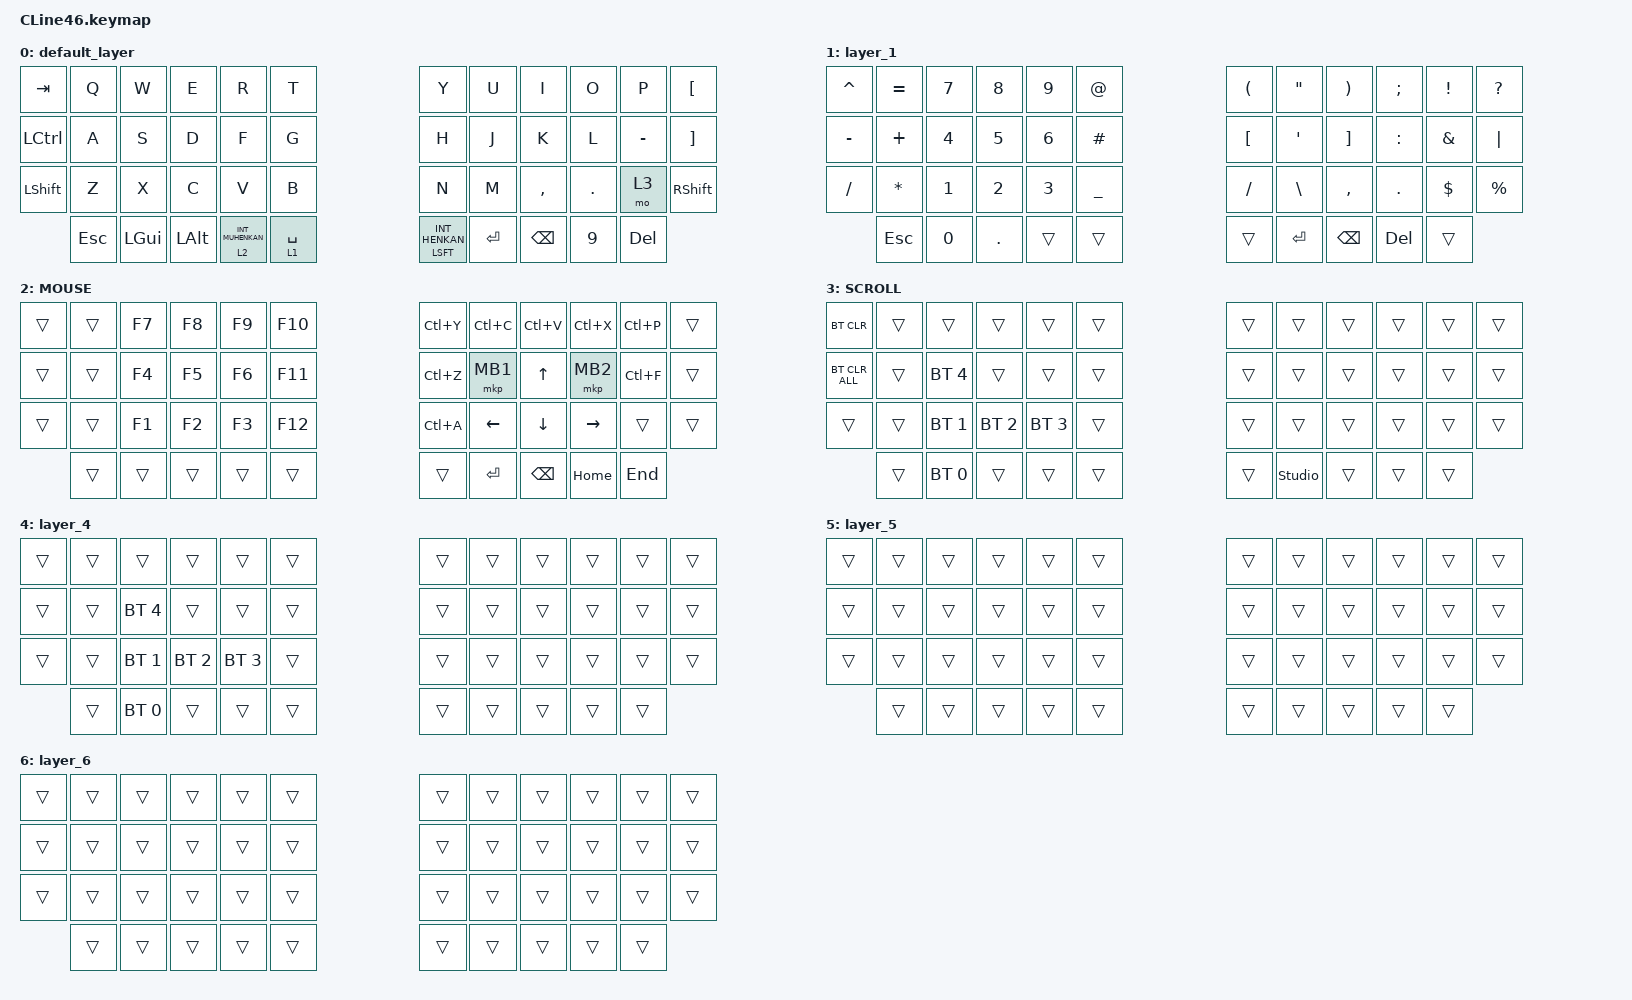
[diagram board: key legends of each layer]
#include <input/processors.dtsi>
#include <dt-bindings/zmk/input_transform.h>
#include <zephyr/dt-bindings/input/input-event-codes.h>
#include <behaviors.dtsi>
#include <dt-bindings/zmk/bt.h>
#include <dt-bindings/zmk/keys.h>
#include <dt-bindings/zmk/pointing.h>

&mt {
    flavor = "balanced";
    quick-tap-ms = <0>;
};

/ {
    combos {
        compatible = "zmk,combos";

        tab {
            bindings = <&kp TAB>;
            key-positions = <11 12>;
        };

        shift_tab {
            bindings = <&kp LS(TAB)>;
            key-positions = <12 13>;
        };
    };

    macros {
        to_layer_0: to_layer_0 {
            compatible = "zmk,behavior-macro-one-param";
            #binding-cells = <1>;
            bindings = <&to 0 &macro_param_1to1 &kp MACRO_PLACEHOLDER>;
            label = "TO_LAYER_0";
        };

        // ()を入力してカーソルを内側に移動
        macro_parentheses: macro_parentheses {
            compatible = "zmk,behavior-macro";
            #binding-cells = <0>;
            wait-ms = <40>;
            tap-ms = <40>;
            bindings = <&kp LPAR &kp RPAR &kp LEFT>;
        };

        // []を入力してカーソルを内側に移動
        macro_brackets: macro_brackets {
            compatible = "zmk,behavior-macro";
            #binding-cells = <0>;
            wait-ms = <40>;
            tap-ms = <40>;
            bindings = <&kp LBKT &kp RBKT &kp LEFT>;
        };

		// 拡大：Ctrl + ホイール上
		zoom_in: zoom_in {
		    compatible = "zmk,behavior-macro";
		    #binding-cells = <0>;
		    display-name = "Zoom In";

		    wait-ms = <150>;

		    bindings =
		        <&macro_press &kp LCTRL>,
		        <&macro_press &msc SCRL_UP>,
		        <&macro_release &msc SCRL_UP>,
		        <&macro_release &kp LCTRL>;
		};

		// 縮小：Ctrl + ホイール下
		zoom_out: zoom_out {
		    compatible = "zmk,behavior-macro";
		    #binding-cells = <0>;
		    display-name = "Zoom Out";

		    wait-ms = <150>;

		    bindings =
		        <&macro_press &kp LCTRL>,
		        <&macro_press &msc SCRL_DOWN>,
		        <&macro_release &msc SCRL_DOWN>,
		        <&macro_release &kp LCTRL>;
		};
    };

    behaviors {
        lt_to_layer_0: lt_to_layer_0 {
            compatible = "zmk,behavior-hold-tap";
            label = "LAYER_TAP_TO_0";
            bindings = <&mo>, <&to_layer_0>;

            #binding-cells = <2>;
            tapping-term-ms = <200>;
        };

        // 長押し：何もしない / 短押し：指定キー
        td_no_hold: td_no_hold {
            compatible = "zmk,behavior-hold-tap";
            #binding-cells = <2>;
            tapping-term-ms = <200>;
            flavor = "tap-preferred";
            bindings = <&none>, <&kp>;
        };

        // 長押し：閉じ括弧 / 短押し：開き括弧
        td_bracket_hold: td_bracket_hold {
            compatible = "zmk,behavior-hold-tap";
            #binding-cells = <2>;
            tapping-term-ms = <200>;
            flavor = "tap-preferred";
            bindings = <&kp>, <&kp>;
        };

        // C / Ctrl+C / なし
        td_copy: td_copy {
            compatible = "zmk,behavior-tap-dance";
            #binding-cells = <0>;
            tapping-term-ms = <200>;
            display-name = "TD Copy";
            bindings = <&kp C>,
                       <&kp LC(C)>;
        };

        // V / Ctrl+V / なし

        // V / Ctrl+V
        td_paste: td_paste {
            compatible = "zmk,behavior-tap-dance";
            #binding-cells = <0>;
            tapping-term-ms = <200>;
            display-name = "TD Paste";
            bindings = <&kp V>,
                       <&kp LC(V)>;
        };


        // ( / ()＋左移動 / )
        td_parentheses: td_parentheses {
            compatible = "zmk,behavior-tap-dance";
            #binding-cells = <0>;
            tapping-term-ms = <200>;
            display-name = "TD Parentheses";
            bindings = <&td_bracket_hold RPAR LPAR>,
                       <&macro_parentheses>;
        };

        // [ / []＋左移動 / ]
        td_brackets: td_brackets {
            compatible = "zmk,behavior-tap-dance";
            #binding-cells = <0>;
            tapping-term-ms = <200>;
            display-name = "TD Brackets";
            bindings = <&td_bracket_hold RBKT LBKT>,
                       <&macro_brackets>;
        };

        // Ctrl+Home / Ctrl+End / なし
        td_home_end: td_home_end {
            compatible = "zmk,behavior-tap-dance";
            #binding-cells = <0>;
            tapping-term-ms = <200>;
            display-name = "TD Home End";
            bindings = <&td_no_hold 0 LC(HOME)>,
                       <&kp LC(END)>;
        };
    };

    keymap {
        compatible = "zmk,keymap";

        default_layer {
            bindings = <
&kp TAB      &kp Q     &kp W      &kp E     &kp R                &kp T                                            &kp Y     &kp U   &kp I       &kp O          &kp P       &kp LEFT_BRACKET
&kp LCTRL    &kp A     &kp S      &kp D     &kp F                &kp G                                            &kp H     &kp J   &kp K       &kp L          &kp MINUS   &kp RIGHT_BRACKET
&kp LSHIFT   &kp Z     &kp X      &kp C     &kp V                &kp B                                            &kp N     &kp M   &kp COMMA   &kp DOT        &mo 3       &kp RSHIFT
             &kp ESC   &kp LGUI   &kp LALT  &lt 2 INT_MUHENKAN   &lt 1 SPACE   &mt LSFT INT_HENKAN      &kp RET   &kp BSPC                      &kp NUMBER_9   &kp DEL  
            >;
        };

        
        layer_1 {
            bindings = <
&kp CARET   &kp EQUAL      &kp NUMBER_7   &kp NUMBER_8   &kp NUMBER_9   &kp AT_SIGN                            &kp LEFT_PARENTHESIS    &kp DOUBLE_QUOTES   &kp RIGHT_PARENTHESIS   &kp SEMI    &kp EXCLAMATION   &kp QMARK
&kp MINUS   &kp PLUS       &kp NUMBER_4   &kp NUMBER_5   &kp NUMBER_6   &kp HASH                               &kp LEFT_BRACKET        &kp SINGLE_QUOTE    &kp RIGHT_BRACKET       &kp COLON   &kp AMPERSAND     &kp PIPE
&kp SLASH   &kp ASTERISK   &kp NUMBER_1   &kp NUMBER_2   &kp NUMBER_3   &kp UNDERSCORE                         &kp SLASH               &kp BACKSLASH       &kp COMMA               &kp DOT     &kp DOLLAR        &kp PERCENT
            &kp ESC        &kp NUMBER_0   &kp DOT        &trans         &trans           &trans      &kp RET   &kp BSPC                                                            &kp DEL     &trans 
            >;
        };


        MOUSE {
            bindings = <
&trans   &trans   &kp F7   &kp F8   &kp F9   &kp F10                         &kp LC(Y)   &kp LC(C)        &kp LC(V)        &kp LC(X)         &kp LC(P)   &trans
&trans   &trans   &kp F4   &kp F5   &kp F6   &kp F11                         &kp LC(Z)   &mkp MB1         &kp UP_ARROW     &mkp MB2          &kp LC(F)   &trans
&trans   &trans   &kp F1   &kp F2   &kp F3   &kp F12                         &kp LC(A)   &kp LEFT_ARROW   &kp DOWN_ARROW   &kp RIGHT_ARROW   &trans      &trans
         &trans   &trans   &trans   &trans   &trans    &trans      &kp RET   &kp BSPC                                      &kp HOME          &kp END
            >;
        };


        SCROLL {
            bindings = <
&bt BT_CLR       &trans   &trans         &trans         &trans         &trans                                &trans   &trans   &trans   &trans   &trans   &trans
&bt BT_CLR_ALL   &trans   &bt BT_SEL 4   &trans         &trans         &trans                                &trans   &trans   &trans   &trans   &trans   &trans
&trans           &trans   &bt BT_SEL 1   &bt BT_SEL 2   &bt BT_SEL 3   &trans                                &trans   &trans   &trans   &trans   &trans   &trans
                 &trans   &bt BT_SEL 0   &trans         &trans         &trans   &trans      &studio_unlock   &trans                     &trans   &trans  
            >;
        };


        layer_4 {
            bindings = <
&trans   &trans   &trans         &trans         &trans         &trans                        &trans   &trans   &trans   &trans   &trans   &trans
&trans   &trans   &bt BT_SEL 4   &trans         &trans         &trans                        &trans   &trans   &trans   &trans   &trans   &trans
&trans   &trans   &bt BT_SEL 1   &bt BT_SEL 2   &bt BT_SEL 3   &trans                        &trans   &trans   &trans   &trans   &trans   &trans
         &trans   &bt BT_SEL 0   &trans         &trans         &trans   &trans      &trans   &trans                     &trans   &trans 
            >;
        };


        layer_5 {
            bindings = <
&trans   &trans   &trans   &trans   &trans   &trans                        &trans   &trans   &trans   &trans   &trans   &trans
&trans   &trans   &trans   &trans   &trans   &trans                        &trans   &trans   &trans   &trans   &trans   &trans
&trans   &trans   &trans   &trans   &trans   &trans                        &trans   &trans   &trans   &trans   &trans   &trans
         &trans   &trans   &trans   &trans   &trans   &trans      &trans   &trans                     &trans   &trans       
            >;
        };


        layer_6 {
            bindings = <
&trans   &trans   &trans   &trans   &trans   &trans                        &trans   &trans   &trans   &trans   &trans   &trans
&trans   &trans   &trans   &trans   &trans   &trans                        &trans   &trans   &trans   &trans   &trans   &trans
&trans   &trans   &trans   &trans   &trans   &trans                        &trans   &trans   &trans   &trans   &trans   &trans
         &trans   &trans   &trans   &trans   &trans   &trans      &trans   &trans                     &trans   &trans 
            >;
        };
    };
};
